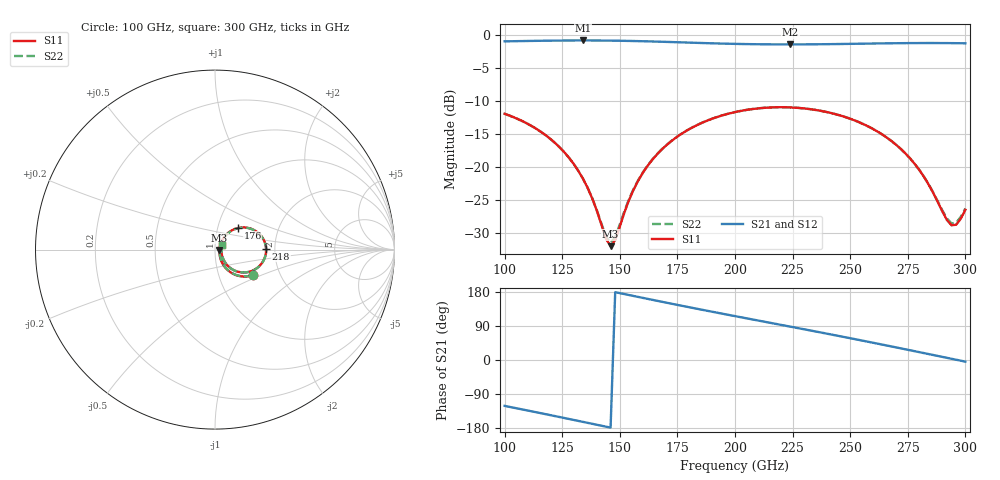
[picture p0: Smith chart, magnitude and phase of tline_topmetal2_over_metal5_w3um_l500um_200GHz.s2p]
#  GHZ S DB R 50
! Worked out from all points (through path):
!   101 points, 100 GHz to 300 GHz, reference 50 ohm
!   highest |S21| = -0.76 dB at 134 GHz (marker M1); lowest = -1.4 dB at 224 GHz (marker M2)
!   group delay of S21, straight-line fit = 3.35 ps
!   lowest |S11| = -32.0 dB at 146 GHz (marker M3), VSWR 1.05, Z = 52.6 - j0.249 ohm
!   |S11| at or under -10 dB: start of sweep to end of sweep
!   |S22| runs from -31.5 to -10.9 dB; largest |S21 - S12| = 1e-13
!   S11 on the Smith chart (normalised r, x): 100 GHz: 1.45, -0.44; 176 GHz: 1.25, +0.31; 218 GHz: 1.80, +0.02; 300 GHz: 1.08, +0.06
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100  -11.91 -34.4  -0.89 -121.1  -0.89 -121.1  -11.92 -34.2
120  -15.77 -54.1  -0.79 -145.7  -0.79 -145.7  -15.78 -53.7
128  -18.61 -60.1  -0.76 -155.7  -0.76 -155.7  -18.62 -59.4
134  -21.77 -61.6  -0.76 -163.3  -0.76 -163.3  -21.77 -60.7
138  -24.75 -58.7  -0.76 -168.3  -0.76 -168.3  -24.70 -57.3
144  -30.92 -30.0  -0.77 -175.9  -0.77 -175.9  -30.57 -28.0
146  -32.04 -5.4  -0.78 -178.5  -0.78 -178.5  -31.54 -4.6
148  -31.13 19.7  -0.79 179.0  -0.79 179.0  -30.67 19.0
154  -25.04 50.3  -0.83 171.5  -0.83 171.5  -24.88 49.0
158  -22.07 53.6  -0.86 166.4  -0.86 166.4  -21.98 52.6
168  -17.41 49.9  -0.95 154.0  -0.95 154.0  -17.37 49.2
176  -15.13 43.3  -1.04 144.2  -1.04 144.2  -15.11 42.8
200  -11.65 19.8  -1.28 115.8  -1.28 115.8  -11.64 19.4
218  -10.92 1.2  -1.35 95.0  -1.35 95.0  -10.91 0.9
224  -10.94 -5.0  -1.36 88.0  -1.36 88.0  -10.94 -5.2
234  -11.27 -15.3  -1.34 76.4  -1.34 76.4  -11.27 -15.5
250  -12.66 -31.3  -1.27 57.5  -1.27 57.5  -12.66 -31.4
268  -16.07 -47.3  -1.18 35.6  -1.18 35.6  -16.07 -47.2
280  -20.46 -52.2  -1.15 20.7  -1.15 20.7  -20.44 -51.8
294  -28.87 -8.4  -1.16 3.2  -1.16 3.2  -28.58 -8.1
296  -28.78 8.4  -1.17 0.7  -1.17 0.7  -28.47 8.0
300  -26.51 33.4  -1.19 -4.3  -1.19 -4.3  -26.30 32.2
